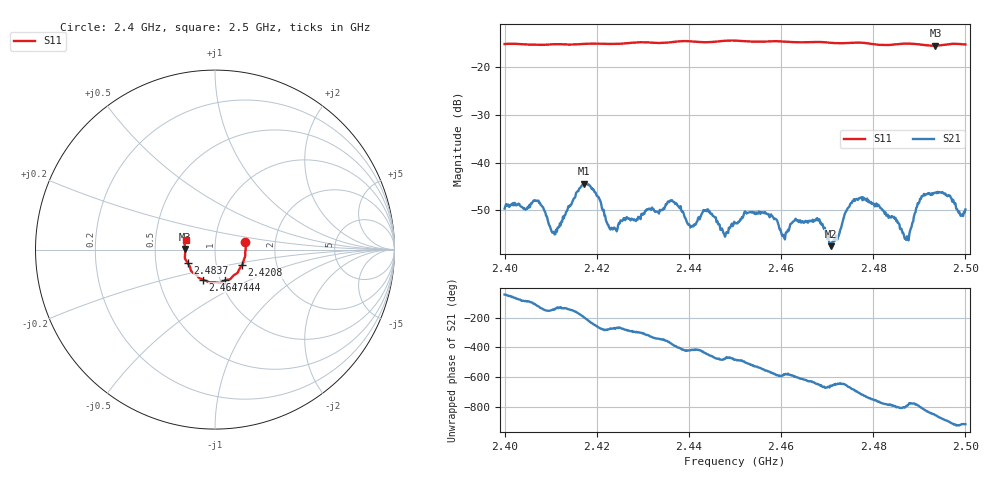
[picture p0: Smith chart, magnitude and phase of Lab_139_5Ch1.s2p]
# Hz S RI R 50
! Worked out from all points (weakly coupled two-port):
!   601 points, 2.4 GHz to 2.5 GHz, reference 50 ohm
!   highest |S21| = -44.37 dB at 2.4172 GHz (marker M1); lowest = -57.4 dB at 2.4708 GHz (marker M2)
!   lowest |S11| = -15.6 dB at 2.4935 GHz (marker M3), VSWR 1.40, Z = 35.8 + j0.209 ohm
!   |S11| at or under -10 dB: start of sweep to end of sweep
!   S12 and S22 are empty: the file has one direction only
!   S11 on the Smith chart (normalised r, x): 2.4 GHz: 1.40, +0.12; 2.4208 GHz: 1.33, -0.24; 2.444 GHz: 1.06, -0.37; 2.4647 GHz: 0.83, -0.29; 2.4837 GHz: 0.73, -0.11; 2.5 GHz: 0.72, +0.08
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2.4e9  0.1676 0.0412  0.00231 -0.00238  0 0  0 0
2.407167e9  0.1694 -0.0107  -0.00215 -0.00337  0 0  0 0
2.410833e9  0.1687 -0.0322  -0.00147 -0.000994  0 0  0 0
2.416667e9  0.1589 -0.0681  -0.00567 0.000515  0 0  0 0
2.417167e9  0.158 -0.0715  -0.00578 0.00175  0 0  0 0
2.420833e9  0.1506 -0.0869  0.000179 0.00392  0 0  0 0
2.423833e9  0.1404 -0.1016  4.83e-07 0.00209  0 0  0 0
2.433333e9  0.108 -0.1404  0.0029 0.000975  0 0  0 0
2.436333e9  0.0933 -0.1549  0.00383 -0.00129  0 0  0 0
2.440667e9  0.0791 -0.1664  0.00121 -0.00177  0 0  0 0
2.444e9  0.0581 -0.1708  0.000243 -0.00324  0 0  0 0
2.45e9  0.0246 -0.1859  -0.00124 -0.00199  0 0  0 0
2.464667e9  -0.0673 -0.1671  -0.000725 0.00234  0 0  0 0
2.466667e9  -0.0798 -0.1628  -9.55e-05 0.00244  0 0  0 0
2.470833e9  -0.096 -0.1495  0.000639 0.00118  0 0  0 0
2.476e9  -0.1274 -0.1242  0.00344 0.00199  0 0  0 0
2.483333e9  -0.1505 -0.0761  0.00109 -0.00242  0 0  0 0
2.483667e9  -0.1523 -0.0733  0.0011 -0.00245  0 0  0 0
2.487333e9  -0.1669 -0.051  0.000624 -0.00158  0 0  0 0
2.4905e9  -0.1669 -0.0313  0.00036 -0.00445  0 0  0 0
2.4935e9  -0.166 0.00284  -0.00341 -0.00348  0 0  0 0
2.5e9  -0.1622 0.0529  -0.00314 0.000795  0 0  0 0
